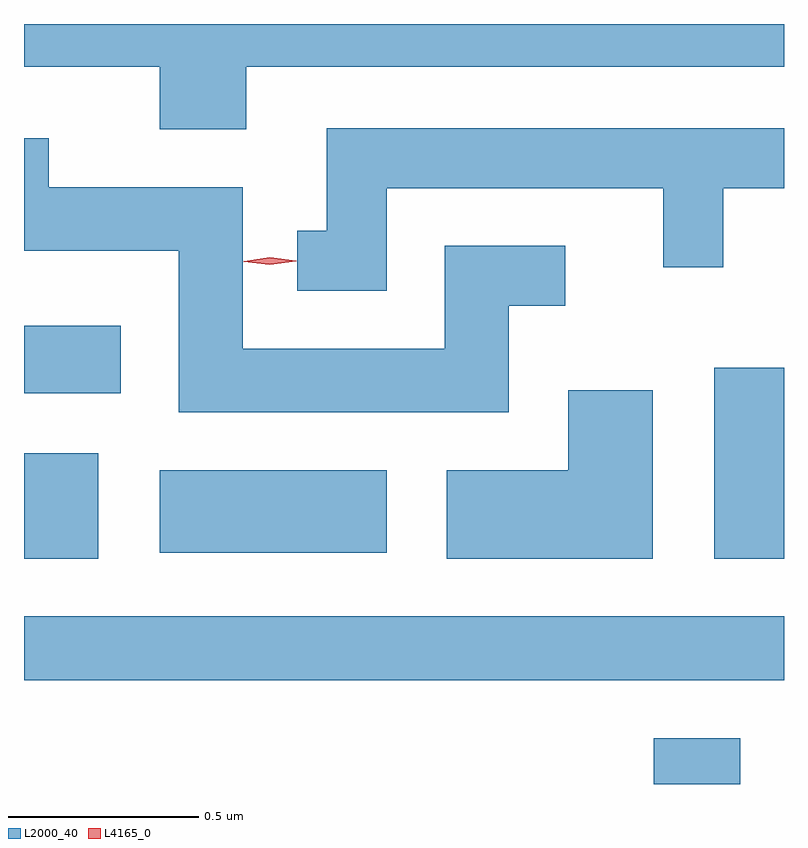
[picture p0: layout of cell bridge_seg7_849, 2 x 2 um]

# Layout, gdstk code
import gdstk
lib = gdstk.Library(unit=1e-6, precision=1e-09)
def R(c, l, rs):  # rectangles x0, y0, x1, y1
    for r in rs: c.add(gdstk.rectangle(r[:2], r[2:], *l))
def P(c, l, *ps):  # polygons
    for p in ps: c.add(gdstk.Polygon(p, *l))
L2000_40 = (2000, 40)
L4165_0 = (4165, 0)

bridge_seg7_849 = lib.new_cell('bridge_seg7_849')
R(bridge_seg7_849, L2000_40, [(406.361,1752.388,406.589,1752.509), (404.704,1752.661,406.704,1752.829), (404.704,1752.981,404.899,1753.259), (406.521,1752.981,406.704,1753.484), (405.061,1752.996,405.659,1753.214), (404.704,1753.416,404.959,1753.594)])
P(bridge_seg7_849, L2000_40, [(405.289,1754.276),(406.704,1754.276),(406.704,1754.388),(404.704,1754.388),(404.704,1754.276),(405.061,1754.276),(405.061,1754.111),(405.289,1754.111)],
  [(405.659,1753.956),(406.386,1753.956),(406.386,1753.748),(406.544,1753.748),(406.544,1753.956),(406.704,1753.956),(406.704,1754.114),(405.501,1754.114),(405.501,1753.844),(405.423,1753.844),(405.423,1753.686),(405.659,1753.686)],
  [(405.979,1753.646),(406.128,1753.646),(406.128,1753.804),(405.811,1753.804),(405.811,1753.534),(405.279,1753.534),(405.279,1753.959),(404.769,1753.959),(404.769,1754.088),(404.704,1754.088),(404.704,1753.791),(405.111,1753.791),(405.111,1753.366),(405.979,1753.366)],
  [(406.359,1753.424),(406.136,1753.424),(406.136,1753.214),(405.816,1753.214),(405.816,1752.981),(406.359,1752.981)])
P(bridge_seg7_849, L4165_0, [(405.351,1753.754),(405.282,1753.763),(405.282,1753.764),(405.282,1753.764),(405.351,1753.774),(405.421,1753.765),(405.421,1753.765),(405.421,1753.764)])

lib.write_gds('bridge_seg7_849.gds')
